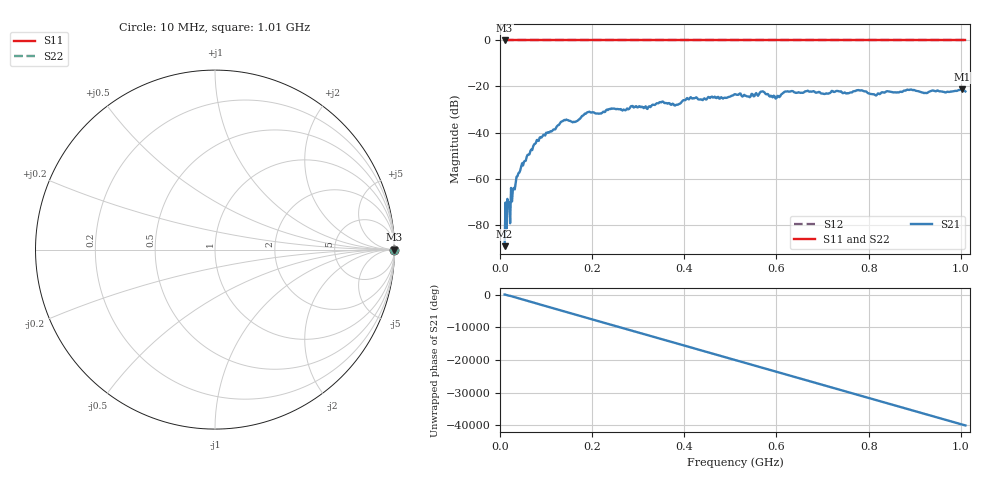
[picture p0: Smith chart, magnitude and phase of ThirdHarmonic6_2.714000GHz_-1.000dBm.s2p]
! 8/17/2025 6:34:43 AM
! C:\ANRITSUVNA\TEMP\TEMP.S2P
! CHANNEL.1
! TR.MEASUREMENT
! RAW.DATA
! RF.CORRECTION.OFF
! AVERAGING.OFF
! IF.BANDWIDTH: 5KHZ
! SWEEPTYPE:  FREQ.SWEEP(Linear)
! Reference Plane Port Info
! PORT:  PORT1  PORT2
! DISTANCE:  0  m  0  m
! TIME:  0  s  0  s
! PHASE.OFFSET:  0  deg.  0  deg.
! LOSS:  0  dB  0  dB
! REF.LOSS:  0  dB  0  dB
! REF.FREQ:  0  Hz  0  Hz
! Power Info
! POWER:  -20  dBm  -20  dBm
! EFF.POWER:  -20  dBm  -20  dBm
! SOURCE.ATTEN:  0  dB  0  dB
! TEST.ATTEN:  0  dB  0  dB
# GHZ S RI R 50.0
! FREQ.GHZ  S11RE  S11IM  S21RE  S21IM  S12RE  S12IM  S22RE  S22IM
!; PortSelection: Port_12
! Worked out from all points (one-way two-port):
!   501 points, 10 MHz to 1.01 GHz, reference 50 ohm
!   highest |S21| = -21.22 dB at 1.002 GHz (marker M1); lowest = -89.4 dB at 10 MHz (marker M2)
!   lowest |S11| = 0.0 dB at 10 MHz (marker M3)
!   |S11| at or under -10 dB: nowhere
!   |S22| runs from 0.0 to 0.0 dB; largest |S21 - S12| = 1.1
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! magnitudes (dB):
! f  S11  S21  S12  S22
! 10 MHz  0.0  -89.4  0.0  0.0
! 16 MHz  0.0  -68.9  0.0  0.0
! 18 MHz  0.0  -72.0  0.0  0.0
! 20 MHz  0.0  -70.4  0.0  0.0
! 22 MHz  0.0  -79.4  0.0  0.0
! 28 MHz  0.0  -64.7  0.0  0.0
! 44 MHz  0.0  -56.4  0.0  0.0
! 78 MHz  0.0  -44.5  0.0  0.0
! 136 MHz  0.0  -35.1  0.0  0.0
! 162 MHz  0.0  -35.4  0.0  0.0
! 178 MHz  0.0  -32.8  0.0  0.0
! 344 MHz  0.0  -27.3  0.0  0.0
! 382 MHz  0.0  -28.0  0.0  0.0
! 410 MHz  0.0  -25.6  0.0  0.0
! 510 MHz  0.0  -23.3  0.0  0.0
! 570 MHz  0.0  -22.1  0.0  0.0
! 602 MHz  0.0  -24.1  0.0  0.0
! 620 MHz  0.0  -22.2  0.0  0.0
! 678 MHz  0.0  -22.2  0.0  0.0
! 844 MHz  0.0  -22.2  0.0  0.0
! 1.002 GHz  0.0  -21.2  0.0  0.0
! 1.01 GHz  0.0  -22.1  0.0  0.0
